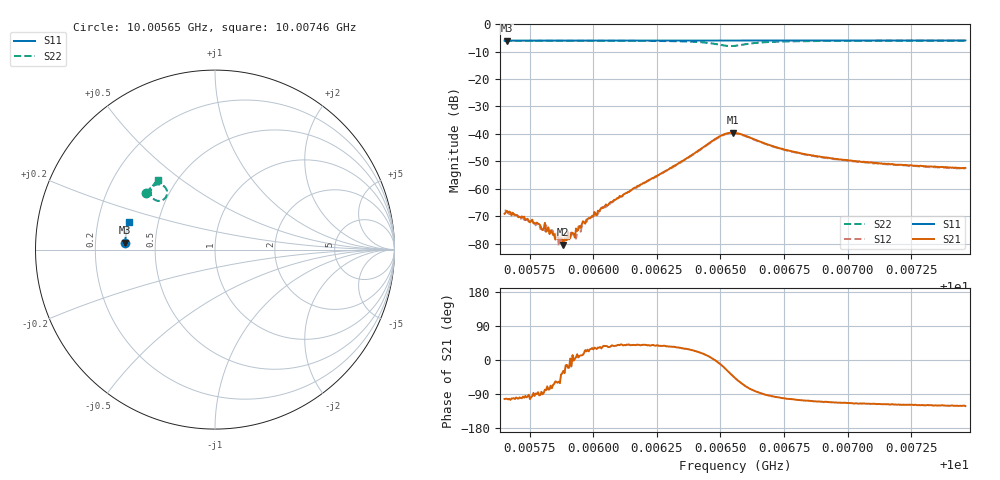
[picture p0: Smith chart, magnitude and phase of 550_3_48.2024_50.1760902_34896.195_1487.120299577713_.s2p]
#  HZ  S  RI  R  50.00
! Rohde & Schwarz Vector Network Analyzer
! Rohde-Schwarz,ZNB20-2Port,1311601062101988,3.16
! Created: UTC 3/20/2024, 12:00:45 PM
! freq[Hz]  re:S11  im:S11  re:S21  im:S21  re:S12  im:S12  re:S22  im:S22
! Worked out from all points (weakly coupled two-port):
!   401 points, 10.00565 GHz to 10.00746 GHz, reference 50 ohm
!   highest |S21| = -39.56 dB at 10.00655 GHz (marker M1); lowest = -80.4 dB at 10.00588 GHz (marker M2)
!   lowest |S11| = -6.0 dB at 10.00566 GHz (marker M3), VSWR 3.01, Z = 16.6 + j1.75 ohm
!   |S11| at or under -10 dB: nowhere
!   |S22| runs from -8.0 to -6.0 dB; largest |S21 - S12| = 0.00066
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1.0005651e10  -0.5003 0.0387  -7.87e-05 -0.000341  -0.000101 -0.000389  -0.3843 0.3151
1.000566e10  -0.5 0.0393  -8.47e-05 -0.000387  -4.3e-05 -0.000371  -0.3841 0.3157
1.0005782e10  -0.4996 0.0472  2.09e-05 -0.00023  2.29e-05 -0.000215  -0.378 0.323
1.0005801e10  -0.4995 0.0485  -9.4e-07 -0.000177  -1e-05 -0.000177  -0.3772 0.3243
1.0005814e10  -0.4994 0.0493  2.96e-05 -0.000162  3.35e-05 -0.000228  -0.3764 0.3251
1.0005855e10  -0.4993 0.052  7.01e-05 -0.00011  5.65e-05 -0.000144  -0.3744 0.3277
1.0005859e10  -0.4993 0.0523  6.7e-05 -0.000116  0.000118 -6.95e-05  -0.374 0.3278
1.0005873e10  -0.499 0.0533  0.0001 -7.91e-05  6.74e-05 -7.46e-05  -0.3732 0.3288
1.0005882e10  -0.4991 0.0538  8.37e-05 -4.61e-05  7.98e-05 -5.79e-05  -0.3728 0.3294
1.0005918e10  -0.499 0.0561  0.000153 3.51e-05  0.000151 2.78e-05  -0.3707 0.3316
1.0005927e10  -0.4989 0.0567  0.000129 6.49e-06  0.000153 8.52e-06  -0.3703 0.3323
1.0005955e10  -0.4987 0.0584  0.000218 4.72e-05  0.00019 6.98e-05  -0.3687 0.3341
1.0005968e10  -0.4986 0.0594  0.000208 0.000101  0.000228 9.39e-05  -0.3678 0.3349
1.0006045e10  -0.4982 0.0643  0.000386 0.00029  0.000356 0.000287  -0.3627 0.34
1.0006258e10  -0.4966 0.0782  0.00142 0.00108  0.00135 0.00116  -0.3424 0.3559
1.0006489e10  -0.4937 0.093  0.00856 -0.000881  0.00839 -0.000381  -0.2695 0.3329
1.0006548e10  -0.4929 0.096  0.00783 -0.00702  0.00802 -0.00643  -0.287 0.2788
1.0006557e10  -0.4931 0.0966  0.00704 -0.00768  0.0073 -0.00717  -0.2956 0.2744
1.0006725e10  -0.492 0.1072  -0.000807 -0.00559  -0.00055 -0.0055  -0.3585 0.3198
1.0006861e10  -0.4904 0.1159  -0.00127 -0.00383  -0.0011 -0.00382  -0.3528 0.3435
1.0007164e10  -0.4862 0.1353  -0.00132 -0.00251  -0.00116 -0.00253  -0.3356 0.3694
1.0007463e10  -0.4812 0.1541  -0.00126 -0.00205  -0.0011 -0.00205  -0.3197 0.3865
